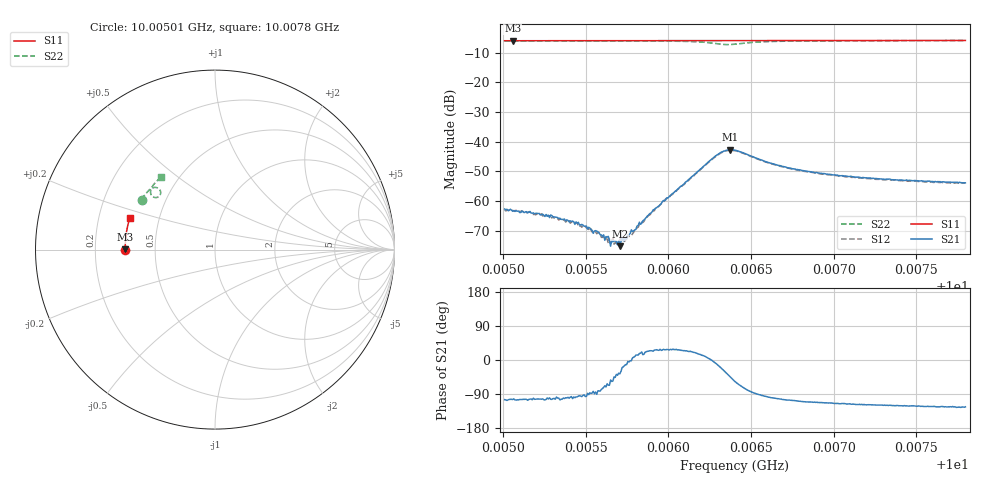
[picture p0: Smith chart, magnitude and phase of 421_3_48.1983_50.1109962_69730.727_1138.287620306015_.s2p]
#  HZ  S  RI  R  50.00
! Rohde & Schwarz Vector Network Analyzer
! Rohde-Schwarz,ZNB20-2Port,1311601062101988,3.16
! Created: UTC 3/20/2024, 11:54:56 AM
! freq[Hz]  re:S11  im:S11  re:S21  im:S21  re:S12  im:S12  re:S22  im:S22
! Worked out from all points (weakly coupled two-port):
!   401 points, 10.00501 GHz to 10.0078 GHz, reference 50 ohm
!   highest |S21| = -42.71 dB at 10.00638 GHz (marker M1); lowest = -75.2 dB at 10.00571 GHz (marker M2)
!   lowest |S11| = -6.0 dB at 10.00506 GHz (marker M3), VSWR 3.00, Z = 16.7 + j0.0598 ohm
!   |S11| at or under -10 dB: nowhere
!   |S22| runs from -7.3 to -6.0 dB; largest |S21 - S12| = 0.00045
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1.0005009e10  -0.4998 -0.00178  -0.000186 -0.000713  -9.8e-05 -0.000699  -0.4091 0.278
1.0005058e10  -0.4997 0.00134  -0.000168 -0.000654  -0.000137 -0.000683  -0.4073 0.2808
1.0005274e10  -0.5001 0.0155  -0.000128 -0.000566  -0.000103 -0.00056  -0.3991 0.2936
1.0005434e10  -0.4999 0.0258  -6.65e-05 -0.000401  -6.34e-05 -0.000434  -0.3923 0.3031
1.0005476e10  -0.4999 0.0285  -4.67e-05 -0.000402  8.18e-06 -0.000363  -0.3904 0.3057
1.0005567e10  -0.4998 0.0343  -2.08e-06 -0.000311  7.37e-05 -0.000273  -0.3862 0.311
1.0005636e10  -0.4996 0.0388  0.000102 -0.000234  6.9e-05 -0.000183  -0.3828 0.3154
1.0005657e10  -0.4994 0.0402  0.000121 -0.000183  0.000113 -0.000178  -0.3817 0.3167
1.0005685e10  -0.4994 0.042  0.000167 -0.00013  0.000146 -0.000126  -0.3803 0.3185
1.0005706e10  -0.4992 0.0434  0.00014 -0.000104  0.000196 -0.000105  -0.3792 0.3198
1.0005741e10  -0.4992 0.0457  0.000235 -5.09e-05  0.00022 -1.24e-05  -0.3771 0.322
1.0005776e10  -0.4991 0.0479  0.000329 -1.1e-05  0.000262 2.53e-05  -0.3751 0.3242
1.0005825e10  -0.4988 0.051  0.000422 0.00013  0.000386 0.000123  -0.3719 0.3272
1.0005943e10  -0.4981 0.0588  0.000746 0.000354  0.000703 0.000435  -0.3632 0.3351
1.0006278e10  -0.4953 0.0803  0.0055 -0.000535  0.00537 -0.000269  -0.3067 0.3321
1.0006333e10  -0.4947 0.0837  0.00615 -0.00314  0.0062 -0.00276  -0.3039 0.3087
1.0006375e10  -0.4943 0.0862  0.00512 -0.00523  0.00533 -0.00483  -0.3165 0.2934
1.0006403e10  -0.4942 0.0877  0.0039 -0.006  0.00418 -0.00569  -0.3283 0.2897
1.0006661e10  -0.4921 0.1042  -0.000829 -0.00394  -0.000644 -0.00389  -0.358 0.3323
1.000687e10  -0.4896 0.1177  -0.00112 -0.00287  -0.000981 -0.00287  -0.3485 0.3525
1.0007337e10  -0.4826 0.147  -0.00115 -0.00205  -0.00101 -0.00206  -0.3248 0.3811
1.0007797e10  -0.4741 0.1752  -0.00112 -0.0017  -0.00106 -0.00171  -0.3014 0.4027
